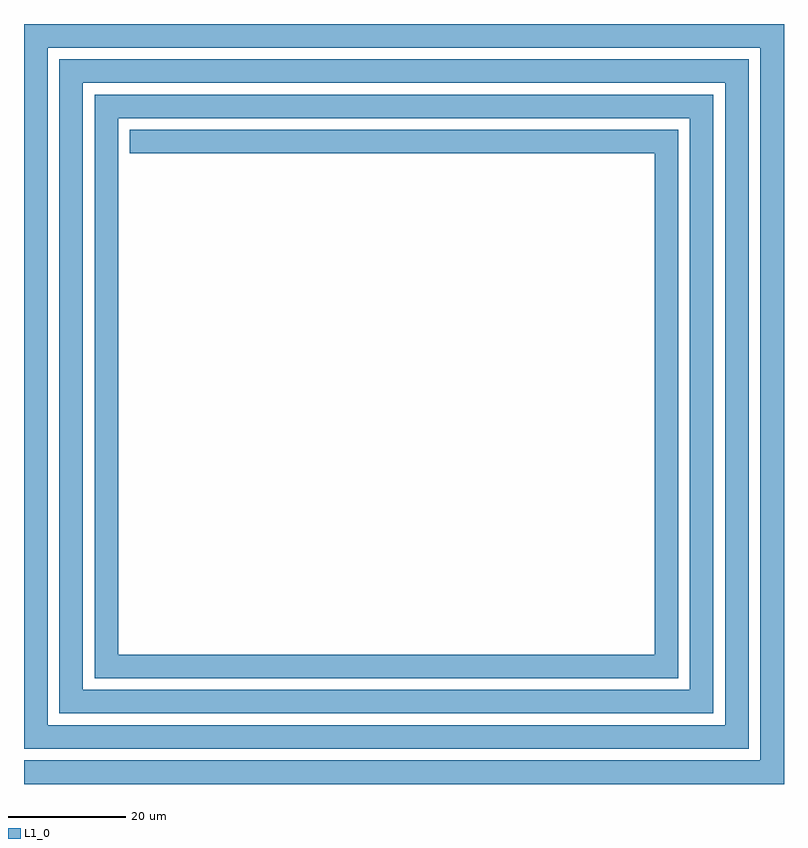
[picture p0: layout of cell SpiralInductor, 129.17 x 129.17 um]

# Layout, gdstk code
import gdstk
lib = gdstk.Library(unit=1e-6, precision=1e-09)
def R(c, l, rs):  # rectangles x0, y0, x1, y1
    for r in rs: c.add(gdstk.rectangle(r[:2], r[2:], *l))
L1_0 = (1, 0)

spiralinductor = lib.new_cell('SpiralInductor')
R(spiralinductor, L1_0, [(0,0,129.168,4), (125.168,0,129.168,129.168), (0,6,4,129.168), (0,6,10,10), (6,6,123.168,10), (119.168,6,123.168,123.168), (6,12,16,16), (6,12,10,123.168), (12,12,117.168,16), (113.168,12,117.168,117.168), (12,18,22,22), (12,18,16,117.168), (18,18,111.168,22), (107.168,18,111.168,111.168), (18,107.168,111.168,111.168), (12,113.168,117.168,117.168), (6,119.168,123.168,123.168), (0,125.168,129.168,129.168)])

lib.write_gds('SpiralInductor.gds')
